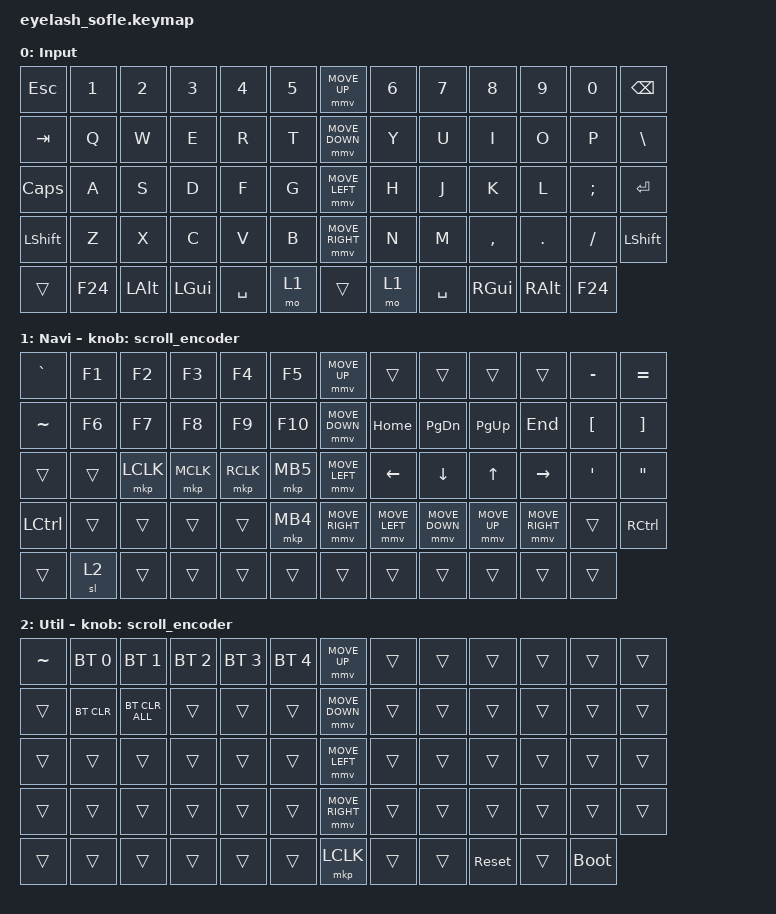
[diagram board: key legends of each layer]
#define ZMK_POINTING_DEFAULT_MOVE_VAL 1200  // 600
#define ZMK_POINTING_DEFAULT_SCRL_VAL 25   // 10

#include <input/processors.dtsi>
#include <zephyr/dt-bindings/input/input-event-codes.h>
#include <behaviors.dtsi>
#include <dt-bindings/zmk/bt.h>
#include <dt-bindings/zmk/keys.h>
#include <dt-bindings/zmk/pointing.h>

&mmv_input_listener { input-processors = <&zip_xy_scaler 2 1>; };

&msc_input_listener { input-processors = <&zip_scroll_scaler 2 1>; };

&msc {
    acceleration-exponent = <1>;      // 0
    time-to-max-speed-ms = <100>;       // 300
    delay-ms = <0>;                   // 0
};

&mmv {
    time-to-max-speed-ms = <500>;
    acceleration-exponent = <1>;
    trigger-period-ms = <16>;
};

&soft_off { hold-time-ms = <2000>; };

/ {
    scroll_encoder: scroll_encoder {
        compatible = "zmk,behavior-sensor-rotate";
        #sensor-binding-cells = <0>;
        bindings = <&msc SCRL_DOWN>, <&msc SCRL_UP>;

        tap-ms = <100>;
    };

    HoldTap: HoldTap {
        compatible = "zmk,behavior-hold-tap";
        label = "HOLDTAP";
        bindings = <&kp>, <&stickyTime>;

        #binding-cells = <2>;
        tapping-term-ms = <175>;
    };

    stickyTime: stickyTime {
        compatible = "zmk,behavior-sticky-key";
        label = "STICKYTIME";
        bindings = <&kp>;
        #binding-cells = <1>;
        release-after-ms = <1300>;
    };

    behaviors {
    };

    combos {
        compatible = "zmk,combos";

        soft_off_left {
            bindings = <&soft_off>;
            key-positions = <55 54 53>;
        };

        soft_off_right {
            bindings = <&soft_off>;
            key-positions = <61 62 63>;
        };
    };

    keymap {
        compatible = "zmk,keymap";

        Input {
            bindings = <
&kp ESC    &kp N1   &kp N2        &kp N3        &kp N4     &kp N5    &mmv MOVE_UP     &kp N6  &kp N7     &kp N8         &kp N9         &kp N0    &kp BACKSPACE
&kp TAB    &kp Q    &kp W         &kp E         &kp R      &kp T     &mmv MOVE_DOWN   &kp Y   &kp U      &kp I          &kp O          &kp P     &kp BSLH
&kp CAPS   &kp A    &kp S         &kp D         &kp F      &kp G     &mmv MOVE_LEFT   &kp H   &kp J      &kp K          &kp L          &kp SEMI  &kp ENTER
&kp LSHFT  &kp Z    &kp X         &kp C         &kp V      &kp B     &mmv MOVE_RIGHT  &kp N   &kp M      &kp COMMA      &kp DOT        &kp FSLH  &kp LEFT_SHIFT
&trans     &kp F24  &kp LEFT_ALT  &kp LEFT_GUI  &kp SPACE  &mo 1     &trans           &mo 1   &kp SPACE  &kp RIGHT_GUI  &kp RIGHT_ALT  &kp F24
            >;

            display-name = "Input";
        };

        Navi {
            bindings = <
&kp GRAVE  &kp F1  &kp F2     &kp F3     &kp F4     &kp F5      &mmv MOVE_UP     &trans          &trans          &trans        &trans           &kp MINUS         &kp EQUAL
&kp TILDE  &kp F6  &kp F7     &kp F8     &kp F9     &kp F10     &mmv MOVE_DOWN   &kp HOME        &kp PAGE_DOWN   &kp PAGE_UP   &kp END          &kp LEFT_BRACKET  &kp RIGHT_BRACKET
&trans     &trans  &mkp LCLK  &mkp MCLK  &mkp RCLK  &mkp MB5    &mmv MOVE_LEFT   &kp LEFT        &kp DOWN        &kp UP        &kp RIGHT        &kp SINGLE_QUOTE  &kp DOUBLE_QUOTES
&kp LCTRL  &trans  &trans     &trans     &trans     &mkp MB4    &mmv MOVE_RIGHT  &mmv MOVE_LEFT  &mmv MOVE_DOWN  &mmv MOVE_UP  &mmv MOVE_RIGHT  &trans            &kp RCTRL
&trans     &sl 2   &trans     &trans     &trans     &trans      &trans           &trans          &trans          &trans        &trans           &trans
            >;

            display-name = "Navi";
            sensor-bindings = <&scroll_encoder>;
        };

        Util {
            bindings = <
&kp TILDE  &bt BT_SEL 0  &bt BT_SEL 1    &bt BT_SEL 2  &bt BT_SEL 3  &bt BT_SEL 4    &mmv MOVE_UP     &trans  &trans  &trans      &trans  &trans       &trans
&trans     &bt BT_CLR    &bt BT_CLR_ALL  &trans        &trans        &trans          &mmv MOVE_DOWN   &trans  &trans  &trans      &trans  &trans       &trans
&trans     &trans        &trans          &trans        &trans        &trans          &mmv MOVE_LEFT   &trans  &trans  &trans      &trans  &trans       &trans
&trans     &trans        &trans          &trans        &trans        &trans          &mmv MOVE_RIGHT  &trans  &trans  &trans      &trans  &trans       &trans
&trans     &trans        &trans          &trans        &trans        &trans          &mkp LCLK        &trans  &trans  &sys_reset  &trans  &bootloader
            >;

            display-name = "Util";
            sensor-bindings = <&scroll_encoder>;
        };
    };
};
